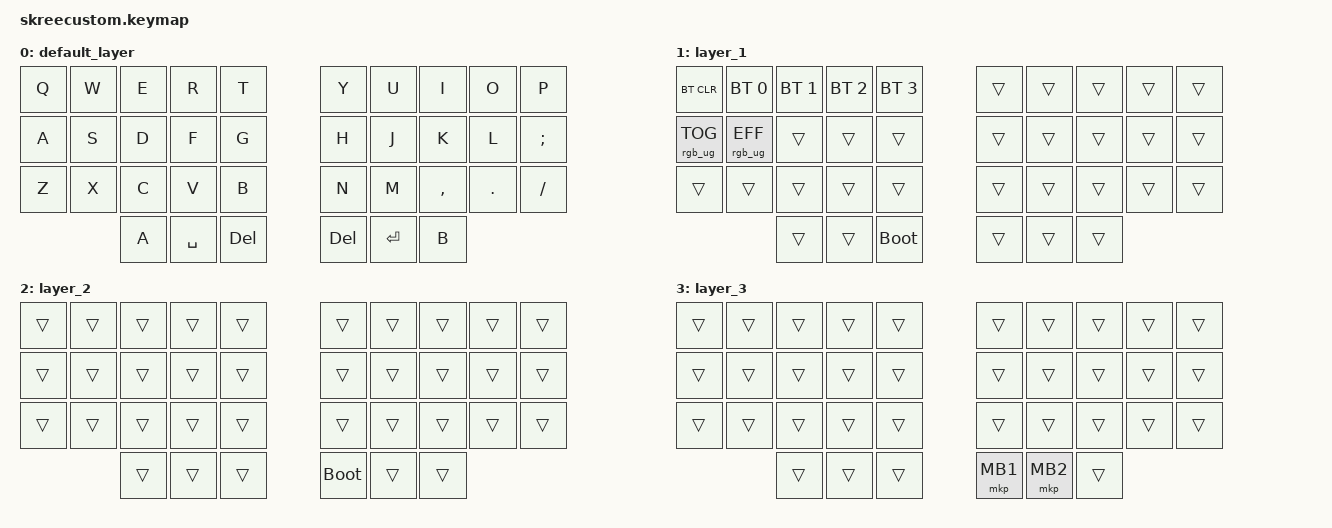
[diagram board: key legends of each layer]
/*
 * Copyright (c) 2020 The ZMK Contributors
 *
 * SPDX-License-Identifier: MIT
 */

#include <input/processors.dtsi>
#include <dt-bindings/zmk/input_transform.h>
#include <behaviors.dtsi>
#include <dt-bindings/zmk/bt.h>
#include <dt-bindings/zmk/keys.h>
#include <dt-bindings/zmk/pointing.h>
#include <dt-bindings/zmk/rgb.h>

/ {
    keymap {
        compatible = "zmk,keymap";

        default_layer {
            bindings = <
&kp Q  &kp W  &kp E  &kp R      &kp T      &kp Y    &kp U    &kp I      &kp O    &kp P
&kp A  &kp S  &kp D  &kp F      &kp G      &kp H    &kp J    &kp K      &kp L    &kp SEMI
&kp Z  &kp X  &kp C  &kp V      &kp B      &kp N    &kp M    &kp COMMA  &kp DOT  &kp FSLH
              &kp A  &kp SPACE  &kp DEL    &kp DEL  &kp RET  &kp B
            >;
        };

        layer_1 {
            bindings = <
&bt BT_CLR       &bt BT_SEL 0     &bt BT_SEL 1  &bt BT_SEL 2  &bt BT_SEL 3    &trans  &trans  &trans  &trans  &trans
&rgb_ug RGB_TOG  &rgb_ug RGB_EFF  &trans        &trans        &trans          &trans  &trans  &trans  &trans  &trans
&trans           &trans           &trans        &trans        &trans          &trans  &trans  &trans  &trans  &trans
                                  &trans        &trans        &bootloader     &trans  &trans  &trans
            >;
        };

        layer_2 {
            bindings = <
&trans  &trans  &trans  &trans  &trans    &trans       &trans  &trans  &trans  &trans
&trans  &trans  &trans  &trans  &trans    &trans       &trans  &trans  &trans  &trans
&trans  &trans  &trans  &trans  &trans    &trans       &trans  &trans  &trans  &trans
                &trans  &trans  &trans    &bootloader  &trans  &trans
            >;
        };

        layer_3 {
            bindings = <
&trans  &trans  &trans  &trans  &trans    &trans    &trans    &trans  &trans  &trans
&trans  &trans  &trans  &trans  &trans    &trans    &trans    &trans  &trans  &trans
&trans  &trans  &trans  &trans  &trans    &trans    &trans    &trans  &trans  &trans
                &trans  &trans  &trans    &mkp MB1  &mkp MB2  &trans
            >;
        };
    };
};

// //right hand trackball overrides
// &trackball_peripheral_listener {
//     input-processors =
//         <&zip_xy_transform INPUT_TRANSFORM_XY_SWAP>,//this gets it to the default installation orientation
//         <&zip_temp_layer 3 500>;//activate layer 3 within 500ms of the trackball moving
// };
// //left hand trackball overrides
// &trackball_central_listener {
//     input-processors = 
//         <&zip_xy_transform INPUT_TRANSFORM_XY_SWAP>,//this gets it to the default installation orientation
//         <&zip_xy_scaler 1 3>,//multiply sensitivity by 1, divide by 3 (make it slower for scrolling)
//         <&zip_xy_to_scroll_mapper>,//make this trackball output scrolling events by default instead of cursor movement
//         <&zip_scroll_transform INPUT_TRANSFORM_Y_INVERT>;//invert vertical scrolling so that the view moves in the same direction as the top of the trackball.
// };
